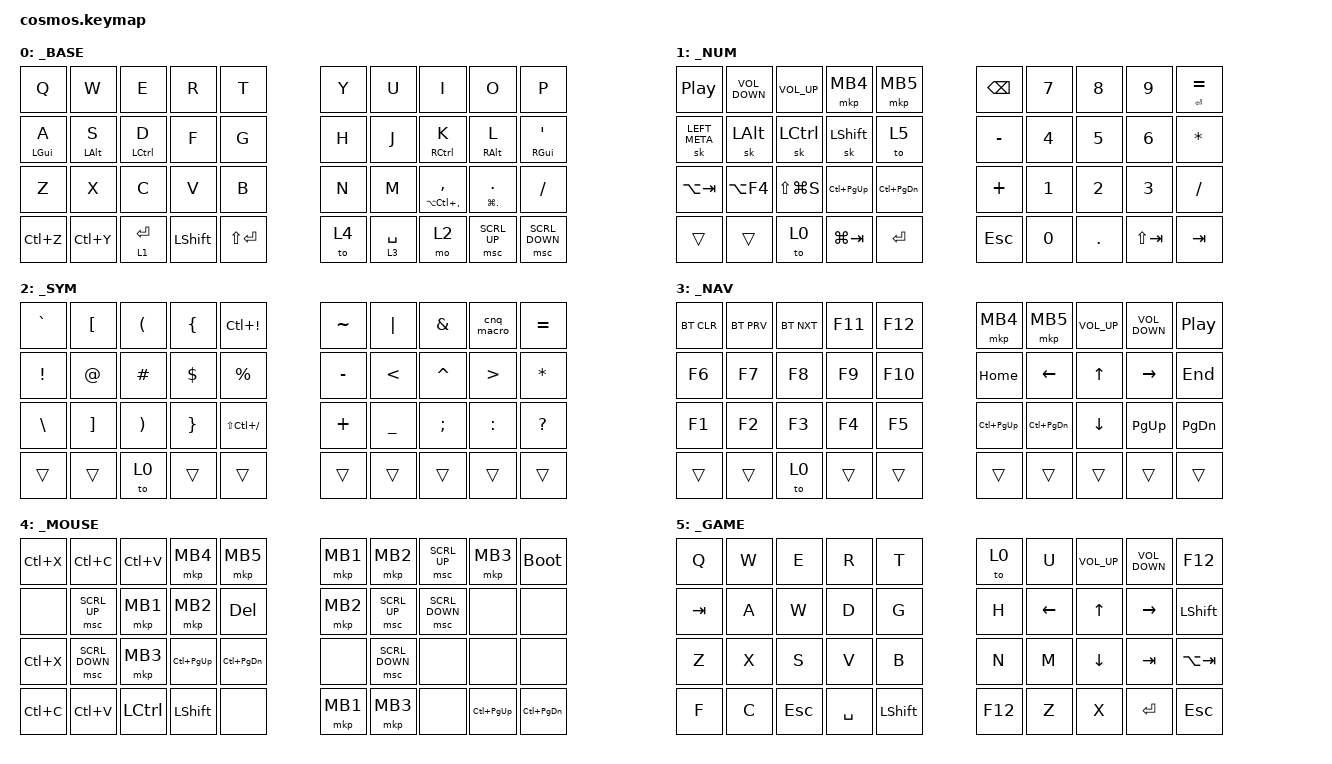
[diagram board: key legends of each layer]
#include <input/processors.dtsi>
#include <dt-bindings/zmk/input_transform.h>
#include <zephyr/dt-bindings/input/input-event-codes.h>
#include <behaviors.dtsi>
#include <dt-bindings/zmk/bt.h>
#include <dt-bindings/zmk/keys.h>
#include <dt-bindings/zmk/pointing.h>

// layers

#define Base 0
#define Num 1
#define Sym 2
#define Nav 3
#define Mouse 4
#define Game 5
#define COMBO_REQUIRE_DELAY 150

/*
    No chosen zmk,matrix-transform here if using ZMK stuidio.
    https://zmk.dev/docs/features/studio#adding-zmk-studio-support-to-a-keyboard
*/

&mt {
    flavor = "tap-preferred";
    tapping-term-ms = <200>;

    // flavor = "balanced";
    // tapping-term-ms = <170>;
};

&sk {
    quick-release;

    // ignore-modifiers;
};

&sl { release-after-ms = <1500>; };

/ {
    combos {
        compatible = "zmk,combos";

        combo_esc {
            timeout-ms = <50>;
            key-positions = <0 1>;
            bindings = <&kp ESC>;
        };

        combo_tab {
            timeout-ms = <50>;
            key-positions = <21 22>;
            bindings = <&kp TAB>;
        };

        combo_return {
            timeout-ms = <50>;
            key-positions = <27 28>;
            bindings = <&kp RETURN>;
        };

        combo_manager {
            timeout-ms = <50>;
            key-positions = <0 2>;
            require-prior-idle-ms = <COMBO_REQUIRE_DELAY>;
            bindings = <&kp LS(LC(ESCAPE))>;
        };

        combo_highlight {
            timeout-ms = <50>;
            key-positions = <16 19>;
            bindings = <&highlight_macro>;
        };

        combo_toggle1 {
            bindings = <&tog 1>;
            key-positions = <32 33>;
            layers = <0 1 2 3>;
        };

        combo_toggle3 {
            bindings = <&tog 3>;
            key-positions = <36 37>;
            layers = <0 1 2 3>;
        };

        combo_backspace_1 {
            bindings = <&kp BACKSPACE>;
            key-positions = <11 12>;
            require-prior-idle-ms = <COMBO_REQUIRE_DELAY>;
            timeout-ms = <30>;
            layers = <0 1 2 3>;
        };

        combo_delete_2 {
            bindings = <&kp DELETE>;
            key-positions = <12 13>;
            require-prior-idle-ms = <COMBO_REQUIRE_DELAY>;
            timeout-ms = <30>;
            layers = <0 1 2 3>;
        };

        combo_backspace_2 {
            bindings = <&kp BACKSPACE>;
            key-positions = <16 17>;
            require-prior-idle-ms = <COMBO_REQUIRE_DELAY>;
            layers = <0 1 2 3>;
            timeout-ms = <30>;
        };

        combo_delete_1 {
            bindings = <&kp DELETE>;
            key-positions = <17 18>;
            require-prior-idle-ms = <COMBO_REQUIRE_DELAY>;
            layers = <0 1 2 3>;
            timeout-ms = <30>;
        };

        combo_copy {
            bindings = <&kp LC(C)>;
            key-positions = <22 23>;
            require-prior-idle-ms = <COMBO_REQUIRE_DELAY>;
            layers = <0 1 2 3>;
        };
    };

    macros {
        cnq_macro: cnq_macro {
            compatible = "zmk,behavior-macro";
            #binding-cells = <0>;
            bindings = <&kp GRAVE &kp LBKT &kp GRAVE &kp RIGHT_BRACKET &kp LEFT_ARROW &kp LEFT_ARROW &kp DOWN_ARROW &kp DOWN_ARROW &kp ENTER>;
            label = "CNQ_MACRO";
        };

        highlight_macro: highlight_macro {
            compatible = "zmk,behavior-macro";
            #binding-cells = <0>;
            bindings = <&kp HOME &kp LS(END)>;
            label = "HIGHLIGHT_MACRO";
        };
    };

    behaviors {
        holdtap_comma: holdtap_comma {
            compatible = "zmk,behavior-hold-tap";
            label = "HOLDTAP_COMMA";
            bindings = <&kp>, <&kp>;

            #binding-cells = <2>;
            tapping-term-ms = <200>;
            hold-trigger-key-positions = <27>;
            flavor = "hold-preferred";
        };

        holdtap_period: holdtap_period {
            compatible = "zmk,behavior-hold-tap";
            label = "HOLDTAP_PERIOD";
            bindings = <&kp>, <&kp>;

            #binding-cells = <2>;
            tapping-term-ms = <200>;
            hold-trigger-key-positions = <28>;
        };

        holdtap_equal_enter: holdtap_equal_enter {
            compatible = "zmk,behavior-hold-tap";
            label = "HOLDTAP_EQUAL_ENTER";
            bindings = <&kp>, <&kp>;

            #binding-cells = <2>;
            tapping-term-ms = <200>;
            hold-trigger-key-positions = <9>;
        };
    };

    /*              40 Keys
    ╭───────╮             ╭───────╮
    │ 0  1  2  3  4│             │ 5  6  7  8  9│
    │10 11 12 13 14│             │15 16 17 18 19│
    │20 21 22 23 24╰──╮ ╭──╯25 26 27 28 29│
    ╰──╮30 31 32 33 34│ │35 36 37 38 39╭──╯
          ╰───────╯ ╰───────╯   */

    keymap {
        compatible = "zmk,keymap";

        _BASE {
            bindings = <
&kp Q           &kp W           &kp E               &kp R        &kp T                             &kp Y        &kp U  &kp I                               &kp O                              &kp P
&mt LEFT_GUI A  &mt LEFT_ALT S  &mt LEFT_CONTROL D  &kp F        &kp G                             &kp H        &kp J  &mt RIGHT_CONTROL K                 &mt RIGHT_ALT L                    &mt RIGHT_GUI SQT
&kp Z           &kp X           &kp C               &kp V        &kp B                             &kp N        &kp M  &holdtap_comma LA(LC(COMMA)) COMMA  &holdtap_period LG(PERIOD) PERIOD  &kp FSLH
                &kp LC(Z)       &kp LC(Y)           &lt 1 ENTER  &kp LSHIFT  &kp LS(ENTER)  &to 4  &lt 3 SPACE  &mo 2  &msc SCRL_UP                        &msc SCRL_DOWN
            >;
        };

        _NUM {
            bindings = <
&kp C_PLAY_PAUSE  &kp C_VOLUME_DOWN  &kp C_VOLUME_UP    &mkp MB4         &mkp MB5                               &kp BACKSPACE  &kp NUMBER_7  &kp NUMBER_8  &kp NUMBER_9  &holdtap_equal_enter ENTER EQUAL
&sk LEFT_META     &sk LEFT_ALT       &sk LEFT_CONTROL   &sk LEFT_SHIFT   &to 5                                  &kp MINUS      &kp NUMBER_4  &kp NUMBER_5  &kp NUMBER_6  &kp ASTERISK
&kp LA(TAB)       &kp LA(F4)         &kp LS(LG(S))      &kp LC(PAGE_UP)  &kp LC(PAGE_DOWN)                      &kp PLUS       &kp NUMBER_1  &kp NUMBER_2  &kp NUMBER_3  &kp FSLH
                  &trans             &trans             &to 0            &kp LG(TAB)        &kp ENTER  &kp ESC  &kp NUMBER_0   &kp DOT       &kp LS(TAB)   &kp TAB
            >;
        };

        _SYM {
            bindings = <
&kp GRAVE        &kp LEFT_BRACKET   &kp LEFT_PARENTHESIS   &kp LEFT_BRACE   &kp LC(EXCLAMATION)                  &kp TILDE  &kp PIPE        &kp AMPERSAND  &cnq_macro        &kp EQUAL
&kp EXCLAMATION  &kp AT_SIGN        &kp HASH               &kp DOLLAR       &kp PERCENT                          &kp MINUS  &kp LESS_THAN   &kp CARET      &kp GREATER_THAN  &kp ASTERISK
&kp BACKSLASH    &kp RIGHT_BRACKET  &kp RIGHT_PARENTHESIS  &kp RIGHT_BRACE  &kp LS(LC(SLASH))                    &kp PLUS   &kp UNDERSCORE  &kp SEMICOLON  &kp COLON         &kp QUESTION
                 &trans             &trans                 &to 0            &trans               &trans  &trans  &trans     &trans          &trans         &trans
            >;
        };

        _NAV {
            bindings = <
&bt BT_CLR  &bt BT_PRV  &bt BT_NXT  &kp F11  &kp F12                  &mkp MB4         &mkp MB5           &kp C_VOLUME_UP  &kp C_VOLUME_DOWN  &kp C_PLAY_PAUSE
&kp F6      &kp F7      &kp F8      &kp F9   &kp F10                  &kp HOME         &kp LEFT           &kp UP           &kp RIGHT          &kp END
&kp F1      &kp F2      &kp F3      &kp F4   &kp F5                   &kp LC(PAGE_UP)  &kp LC(PAGE_DOWN)  &kp DOWN         &kp PAGE_UP        &kp PAGE_DOWN
            &trans      &trans      &to 0    &trans   &trans  &trans  &trans           &trans             &trans           &trans
            >;
        };

        _MOUSE {
            bindings = <
&kp LC(X)  &kp LC(C)       &kp LC(V)  &mkp MB4          &mkp MB5                            &mkp MB1  &mkp MB2        &msc SCRL_UP     &mkp MB3           &bootloader
&none      &msc SCRL_UP    &mkp MB1   &mkp MB2          &kp DEL                             &mkp MB2  &msc SCRL_UP    &msc SCRL_DOWN   &none              &none
&kp LC(X)  &msc SCRL_DOWN  &mkp MB3   &kp LC(PAGE_UP)   &kp LC(PAGE_DOWN)                   &none     &msc SCRL_DOWN  &none            &none              &none
           &kp LC(C)       &kp LC(V)  &kp LEFT_CONTROL  &kp LSHIFT         &none  &mkp MB1  &mkp MB3  &none           &kp LC(PAGE_UP)  &kp LC(PAGE_DOWN)
            >;
        };

        _GAME {
            bindings = <
&kp Q    &kp W  &kp E  &kp R    &kp T                               &to 0  &kp U     &kp C_VOLUME_UP  &kp C_VOLUME_DOWN  &kp F12
&kp TAB  &kp A  &kp W  &kp D    &kp G                               &kp H  &kp LEFT  &kp UP           &kp RIGHT          &kp LSHIFT
&kp Z    &kp X  &kp S  &kp V    &kp B                               &kp N  &kp M     &kp DOWN         &kp TAB            &kp LA(TAB)
         &kp F  &kp C  &kp ESC  &kp SPACE  &kp LEFT_SHIFT  &kp F12  &kp Z  &kp X     &kp ENTER        &kp ESC
            >;
        };
    };
};
